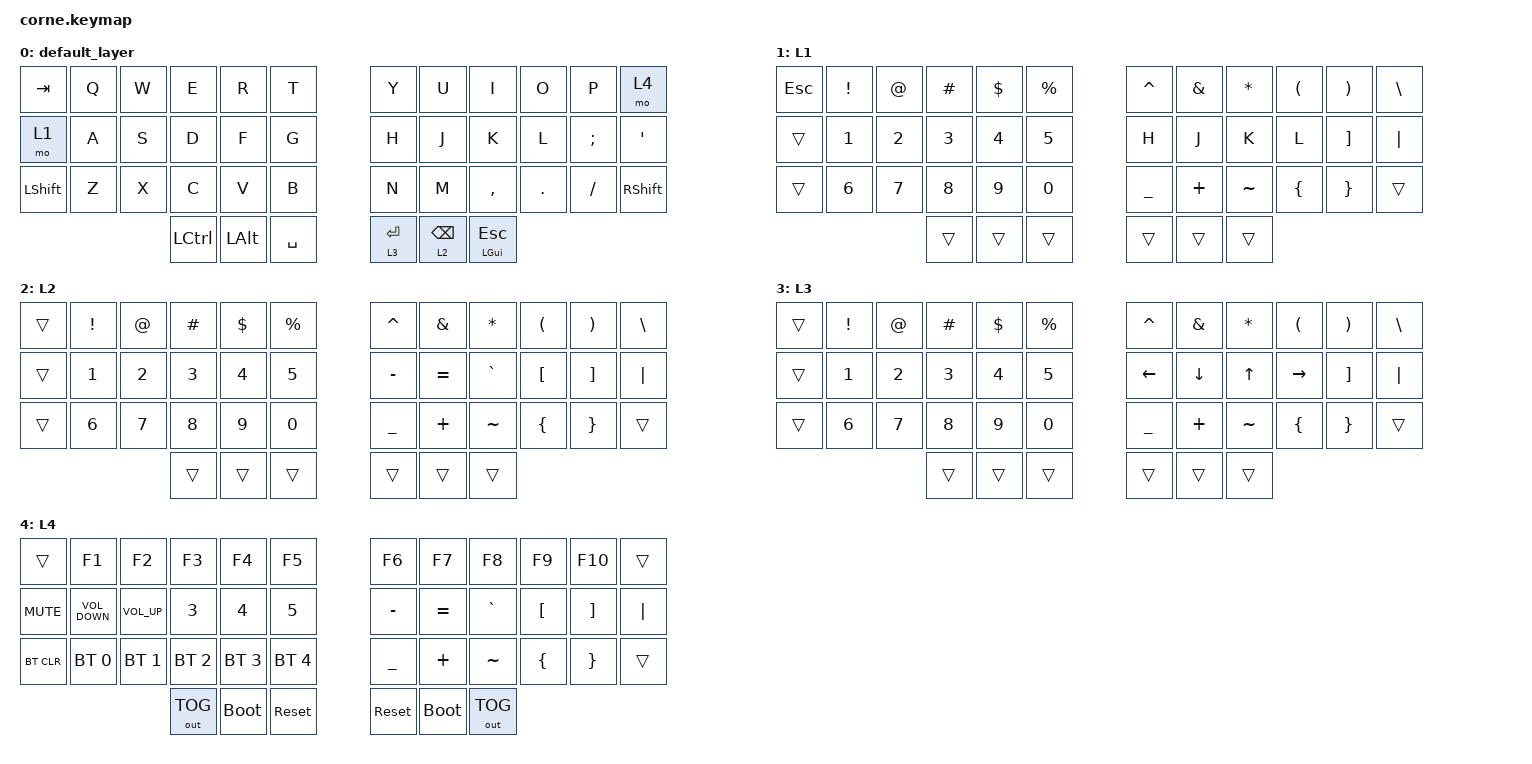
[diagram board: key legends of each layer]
/*
 * Copyright (c) 2020 The ZMK Contributors
 *
 * SPDX-License-Identifier: MIT
 */

#include <behaviors.dtsi>
#include <dt-bindings/zmk/bt.h>
#include <dt-bindings/zmk/keys.h>
#include <dt-bindings/zmk/outputs.h>

/ {
    behaviors {
        mymt: mymt {
            compatible = "zmk,behavior-hold-tap";
            label = "MYMT";
            bindings =
                <&kp>,
                <&kp>;

            #binding-cells = <2>;
            retro-tap;
            tapping-term-ms = <250>;
            quick-tap-ms = <250>;
            global-quick-tap;
        };
        mylt: mylt {
            compatible = "zmk,behavior-hold-tap";
            label = "MYLT";
            bindings =
                <&mo>,
                <&kp>;

            #binding-cells = <2>;
            tapping-term-ms = <250>;
            quick-tap-ms = <250>;
            global-quick-tap;
            retro-tap;
        };
    };

    keymap {
        compatible = "zmk,keymap";

        default_layer {
            bindings = <
   &kp TAB  &kp Q  &kp W      &kp E     &kp R      &kp T            &kp Y         &kp U           &kp I    &kp O     &kp P       &mo 4
     &mo 1  &kp A  &kp S      &kp D     &kp F      &kp G            &kp H         &kp J           &kp K    &kp L  &kp SEMI     &kp SQT
&kp LSHIFT  &kp Z  &kp X      &kp C     &kp V      &kp B            &kp N         &kp M       &kp COMMA  &kp DOT  &kp FSLH  &kp RSHIFT
                          &kp LCTRL  &kp LALT  &kp SPACE    &mylt 3 ENTER  &mylt 2 BSPC  &mymt LGUI ESC
            >;
        };

        L1 {
            bindings = <
&kp ESC      &kp EXCL        &kp AT      &kp HASH      &kp DLLR     &kp PRCNT    &kp CARET  &kp AMPS   &kp STAR  &kp LEFT_PARENTHESIS  &kp RIGHT_PARENTHESIS  &kp BSLH
 &trans  &kp NUMBER_1  &kp NUMBER_2  &kp NUMBER_3  &kp NUMBER_4  &kp NUMBER_5        &kp H     &kp J      &kp K                 &kp L      &kp RIGHT_BRACKET  &kp PIPE
 &trans  &kp NUMBER_6  &kp NUMBER_7  &kp NUMBER_8  &kp NUMBER_9  &kp NUMBER_0    &kp UNDER  &kp PLUS  &kp TILDE              &kp LBRC               &kp RBRC    &trans
                                           &trans        &trans        &trans       &trans    &trans     &trans
            >;
        };

        L2 {
            bindings = <
&trans      &kp EXCL        &kp AT      &kp HASH      &kp DLLR     &kp PRCNT    &kp CARET   &kp AMPS   &kp STAR  &kp LPAR  &kp RPAR  &kp BSLH
&trans  &kp NUMBER_1  &kp NUMBER_2  &kp NUMBER_3  &kp NUMBER_4  &kp NUMBER_5    &kp MINUS  &kp EQUAL  &kp GRAVE  &kp LBKT  &kp RBKT  &kp PIPE
&trans  &kp NUMBER_6  &kp NUMBER_7  &kp NUMBER_8  &kp NUMBER_9  &kp NUMBER_0    &kp UNDER   &kp PLUS  &kp TILDE  &kp LBRC  &kp RBRC    &trans
                                          &trans        &trans        &trans       &trans     &trans     &trans
            >;
        };

        L3 {
            bindings = <
&trans      &kp EXCL        &kp AT      &kp HASH      &kp DLLR     &kp PRCNT    &kp CARET  &kp AMPS   &kp STAR   &kp LPAR  &kp RPAR  &kp BSLH
&trans  &kp NUMBER_1  &kp NUMBER_2  &kp NUMBER_3  &kp NUMBER_4  &kp NUMBER_5     &kp LEFT  &kp DOWN     &kp UP  &kp RIGHT  &kp RBKT  &kp PIPE
&trans  &kp NUMBER_6  &kp NUMBER_7  &kp NUMBER_8  &kp NUMBER_9  &kp NUMBER_0    &kp UNDER  &kp PLUS  &kp TILDE   &kp LBRC  &kp RBRC    &trans
                                          &trans        &trans        &trans       &trans    &trans     &trans
            >;
        };

        L4 {
            bindings = <
    &trans             &kp F1        &kp F2        &kp F3        &kp F4        &kp F5        &kp F6       &kp F7        &kp F8            &kp F9            &kp F10    &trans
&kp K_MUTE  &kp C_VOLUME_DOWN  &kp C_VOL_UP  &kp NUMBER_3  &kp NUMBER_4  &kp NUMBER_5     &kp MINUS    &kp EQUAL     &kp GRAVE  &kp LEFT_BRACKET  &kp RIGHT_BRACKET  &kp PIPE
&bt BT_CLR       &bt BT_SEL 0  &bt BT_SEL 1  &bt BT_SEL 2  &bt BT_SEL 3  &bt BT_SEL 4     &kp UNDER     &kp PLUS     &kp TILDE          &kp LBRC           &kp RBRC    &trans
                                             &out OUT_TOG   &bootloader    &sys_reset    &sys_reset  &bootloader  &out OUT_TOG
            >;
        };
    };
};
